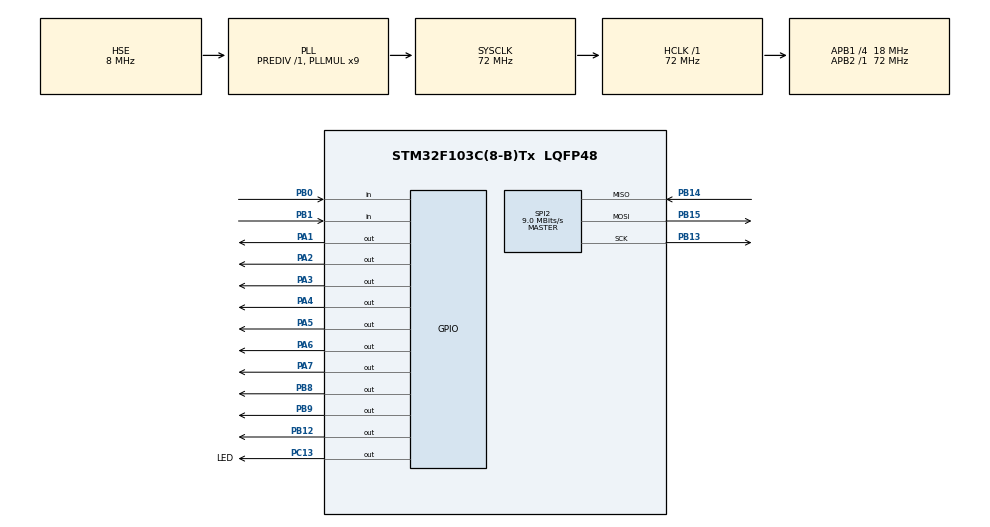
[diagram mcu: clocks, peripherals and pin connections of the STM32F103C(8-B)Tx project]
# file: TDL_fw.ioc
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FATFS._MAX_SS=4096
FATFS._USE_LFN=0
Mcu.Family=STM32F1
Mcu.Name=STM32F103C(8-B)Tx
Mcu.Package=LQFP48
NVIC.PriorityGroup=NVIC_PRIORITYGROUP_4
NVIC.TIM2_IRQn=true\:0\:0\:false\:false\:true\:true\:true\:true
PA1.Signal=GPIO_Output
PA13.Mode=Serial_Wire
PA13.Signal=SYS_JTMS-SWDIO
PA14.Mode=Serial_Wire
PA14.Signal=SYS_JTCK-SWCLK
PA2.Signal=GPIO_Output
PA3.Signal=GPIO_Output
PA4.Signal=GPIO_Output
PA5.Signal=GPIO_Output
PA6.Signal=GPIO_Output
PA7.Signal=GPIO_Output
PB0.GPIO_PuPd=GPIO_PULLDOWN
PB0.Signal=GPIO_Input
PB1.GPIO_PuPd=GPIO_PULLDOWN
PB1.Signal=GPIO_Input
PB12.Signal=GPIO_Output
PB13.Mode=Full_Duplex_Master
PB13.Signal=SPI2_SCK
PB14.Mode=Full_Duplex_Master
PB14.Signal=SPI2_MISO
PB15.Mode=Full_Duplex_Master
PB15.Signal=SPI2_MOSI
PB8.Signal=GPIO_Output
PB9.Signal=GPIO_Output
PC13-TAMPER-RTC.GPIO_Label=LED
PC13-TAMPER-RTC.Signal=GPIO_Output
PD0-OSC_IN.Mode=HSE-External-Oscillator
PD0-OSC_IN.Signal=RCC_OSC_IN
PD1-OSC_OUT.Mode=HSE-External-Oscillator
PD1-OSC_OUT.Signal=RCC_OSC_OUT
ProjectManager.HeapSize=0x200
ProjectManager.StackSize=0x400
ProjectManager.TargetToolchain=STM32CubeIDE
RCC.AHBFreq_Value=72000000
RCC.APB1CLKDivider=RCC_HCLK_DIV4
RCC.APB1Freq_Value=18000000
RCC.APB1TimFreq_Value=36000000
RCC.APB2Freq_Value=72000000
RCC.APB2TimFreq_Value=72000000
RCC.HCLKFreq_Value=72000000
RCC.PLLMUL=RCC_PLL_MUL9
RCC.PLLSourceVirtual=RCC_PLLSOURCE_HSE
RCC.SYSCLKFreq_VALUE=72000000
RCC.SYSCLKSource=RCC_SYSCLKSOURCE_PLLCLK
RCC.USBFreq_Value=72000000
SPI2.CalculateBaudRate=9.0 MBits/s
SPI2.Direction=SPI_DIRECTION_2LINES
SPI2.Mode=SPI_MODE_MASTER
SPI2.VirtualType=VM_MASTER
TIM2.Period=1000
TIM2.Prescaler=36000-1
TIM3.Prescaler=72-1
VP_FATFS_VS_Generic.Mode=User_defined
VP_TIM2_VS_ClockSourceINT.Mode=Internal
VP_TIM3_VS_ClockSourceINT.Mode=Internal
board=custom

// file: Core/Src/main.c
/* USER CODE BEGIN Header */
/**
  ******************************************************************************
  * @file           : main.c
  * @brief          : Main program body
  ******************************************************************************
  * @attention
  *
  * Copyright (c) 2024 STMicroelectronics.
  * All rights reserved.
  *
  * This software is licensed under terms that can be found in the LICENSE file
  * in the root directory of this software component.
  * If no LICENSE file comes with this software, it is provided AS-IS.
  *
  ******************************************************************************
  */
/* USER CODE END Header */
#include "main.h"
#include "fatfs.h"

/* USER CODE BEGIN Includes */

#include "lcd.h"
#include "math.h"
#include "ds18b20.h"

/* USER CODE END Includes */

/* USER CODE BEGIN PTD */
typedef struct
{
	int ID;
	char ROM_NO[8];
	char estado;
	float  temp;
}
tempSens_t;

/* USER CODE END PTD */

/* USER CODE BEGIN PD */
//#define LEER_ROM
#define N 4
FATFS fs;
FIL fil;

/* USER CODE END PD */

SPI_HandleTypeDef hspi2;

TIM_HandleTypeDef htim2;
TIM_HandleTypeDef htim3;

/* USER CODE BEGIN PV */
//TIM_HandleTypeDef htim1; // Se utiliza para temporización en us (one wire)
//TIM_HandleTypeDef htim3;
tempSens_t sensor[N];

FATFS fs;
FIL fil;
uint8_t count = 0;
uint8_t recording = 0;

/* USER CODE END PV */

void SystemClock_Config(void);
static void MX_GPIO_Init(void);
static void MX_TIM3_Init(void);
static void MX_SPI2_Init(void);
static void MX_TIM2_Init(void);

int main(void)
{

  /* MCU Configuration--------------------------------------------------------*/

  /* Reset of all peripherals, Initializes the Flash interface and the Systick. */
  HAL_Init();

  /* Configure the system clock */
  SystemClock_Config();

  /* USER CODE BEGIN SysInit */

  HAL_GPIO_TogglePin (GPIOA, GPIO_PIN_7);

  /* USER CODE END SysInit */

  /* Initialize all configured peripherals */
  MX_GPIO_Init();
  MX_TIM3_Init();
  MX_SPI2_Init();
  MX_FATFS_Init();
  MX_TIM2_Init();
  /* USER CODE BEGIN 2 */

  HAL_TIM_Base_Start(&htim3);
  HAL_TIM_Base_Start_IT(&htim2);
  HAL_Delay(1000);

  uint8_t Presence;
  uint8_t scratchPad[8];
  uint16_t buffer;
  uint16_t sample = 0;
  char message[25];
  int m;
  //uint8_t recording;
  //float temperature;

  Lcd_PortType ports[] = { GPIOA, GPIOA, GPIOA, GPIOA };
  Lcd_PinType pins[] = {GPIO_PIN_2, GPIO_PIN_3, GPIO_PIN_4, GPIO_PIN_5};
  Lcd_HandleTypeDef lcd;
  lcd = Lcd_create(ports, pins, GPIOA, GPIO_PIN_6, GPIOA, GPIO_PIN_1, LCD_4_BIT_MODE);

#ifdef LEER_ROM
  Presence = DS18B20_Start ();
  Lcd_cursor(&lcd, 0,0);
  DS18B20_Write (0x33);  // read ROM
  for(int i = 0; i<4; i++)
  {
	  scratchPad[i] = DS18B20_Read();
	  Lcd_int_hex(&lcd, scratchPad[i]);
	  Lcd_string(&lcd, " ");
  }
  Lcd_cursor(&lcd, 1,0);
  for(int i = 4; i<8; i++)
    {
  	  scratchPad[i] = DS18B20_Read();
  	  Lcd_int_hex(&lcd, scratchPad[i]);
  	  Lcd_string(&lcd, " ");
    }
  Presence = Presence; // ToDo: chequeo de errores
  HAL_Delay(10000);
#endif
  // Sensor 1:
  uint8_t aux[N][8]= {{0x28, 0xEB, 0x42, 0x76, 0xE0, 0x01, 0x3C, 0x1A},
		  	  	  	 {0x28, 0x2F, 0x9B, 0x76, 0xE0, 0x01, 0x3C, 0xF4},
					 {0x28, 0x2C, 0x4D, 0x43, 0xD4, 0xE1, 0x3C, 0x93},
					 {0x28, 0xBF, 0x88, 0x43, 0xD4, 0xE1, 0x3C, 0x8B}};
  for(int j=0; j<N;j++)
	  for(int i=0; i<8; i++)
	  {
		  sensor[j].ROM_NO[i]= aux[j][i];
	  }

	f_mount(&fs, "", 0);
	f_open(&fil, "temp.log", FA_OPEN_ALWAYS | FA_WRITE | FA_READ);
	f_lseek(&fil, fil.fsize);
	f_puts("sample, T1, T2, T3, T4\n", &fil);
	f_close(&fil);

  /* USER CODE END 2 */

  /* Infinite loop */
  while (1)
  {

    /* USER CODE BEGIN 3 */

	  // Iniciar conversión
	  Presence = DS18B20_Start ();
	  HAL_Delay (1);
	  DS18B20_Write (0xCC);  // skip ROM
	  DS18B20_Write (0x44);  // convert t
	  HAL_Delay (800);
	  Presence = Presence; // ToDo: chequeo de errores
//	  // Lectura de temperatura (un solo sensor en bus)
//	  Presence = DS18B20_Start ();
//	  HAL_Delay(1);
//	  DS18B20_Write (0xCC);  // skip ROM
//	  DS18B20_Write (0xBE);  // Read Scratch-pad
//	  for(int i = 0; i<8; i++)
//		  scratchPad[i] = DS18B20_Read();

///////////////////////////////////////////////////////////
	  for(int j=0; j<N; j++)
	  {
		  Presence = DS18B20_Start ();
		  HAL_Delay(1);
		  DS18B20_Write (0x55);  // match ROM
		  for(int i=0;i<8;i++)
		  {
			  DS18B20_Write (sensor[j].ROM_NO[i]);
		  }
		  DS18B20_Write (0xBE);  // Read Scratch-pad
		  for(int i = 0; i<8; i++)
			  scratchPad[i] = DS18B20_Read();
		  buffer = scratchPad[1];
		  buffer = (buffer << 8) + scratchPad[0];
		  sensor[j].temp = DS18B20_Temp2Float(buffer);
	  }

	  Lcd_clear;
	  Lcd_cursor(&lcd, 0,0);
	  Lcd_string(&lcd, "T1=");
	  Lcd_float_lim(&lcd, sensor[0].temp, 1);
	  Lcd_cursor(&lcd, 0,8);
	  Lcd_string(&lcd, "T2=");
	  Lcd_float_lim(&lcd, sensor[1].temp, 1);
	  Lcd_cursor(&lcd, 1,0);
	  Lcd_string(&lcd, "T3=");
	  Lcd_float_lim(&lcd, sensor[2].temp, 1);
	  Lcd_cursor(&lcd, 1,8);
	  Lcd_string(&lcd, "T4=");
	  Lcd_float_lim(&lcd, sensor[3].temp, 1);
	  //lcd_write_data(&lcd, 210); // imprime "°"
	  //Lcd_string(&lcd, "C");

//	   f_mount(&fs, "", 0);
//	   f_open(&fil, "write.txt", FA_OPEN_ALWAYS | FA_WRITE | FA_READ);
//	   f_lseek(&fil, fil.fsize);
//	   f_puts("Hello from CENADIF\n", &fil);
//	   f_close(&fil);

	if((count % 10) == 0 && recording == 1) // cada 10 segundos
	{
		f_mount(&fs, "", 0);
		f_open(&fil, "temp.log", FA_OPEN_ALWAYS | FA_WRITE | FA_READ);
		f_lseek(&fil, fil.fsize);
		m = sprintf(message, "%d, ", sample);
		m += sprintf(message+m, "%.2f, ",sensor[0].temp );
		m += sprintf(message+m, "%.2f, ",sensor[1].temp );
		m += sprintf(message+m, "%.2f, ",sensor[2].temp );
		m += sprintf(message+m, "%.2f\n",sensor[3].temp );
		f_puts(message, &fil);
		f_close(&fil);
		count = 0;
		sample ++;
		//HAL_GPIO_TogglePin (GPIOC, LED_Pin);
	}
  }
  /* USER CODE END 3 */
}

void SystemClock_Config(void)
{
  RCC_OscInitTypeDef RCC_OscInitStruct = {0};
  RCC_ClkInitTypeDef RCC_ClkInitStruct = {0};

  /** Initializes the RCC Oscillators according to the specified parameters
  * in the RCC_OscInitTypeDef structure.
  */
  RCC_OscInitStruct.OscillatorType = RCC_OSCILLATORTYPE_HSE;
  RCC_OscInitStruct.HSEState = RCC_HSE_ON;
  RCC_OscInitStruct.HSEPredivValue = RCC_HSE_PREDIV_DIV1;
  RCC_OscInitStruct.HSIState = RCC_HSI_ON;
  RCC_OscInitStruct.PLL.PLLState = RCC_PLL_ON;
  RCC_OscInitStruct.PLL.PLLSource = RCC_PLLSOURCE_HSE;
  RCC_OscInitStruct.PLL.PLLMUL = RCC_PLL_MUL9;
  if (HAL_RCC_OscConfig(&RCC_OscInitStruct) != HAL_OK)
  {
    Error_Handler();
  }

  /** Initializes the CPU, AHB and APB buses clocks
  */
  RCC_ClkInitStruct.ClockType = RCC_CLOCKTYPE_HCLK|RCC_CLOCKTYPE_SYSCLK
                              |RCC_CLOCKTYPE_PCLK1|RCC_CLOCKTYPE_PCLK2;
  RCC_ClkInitStruct.SYSCLKSource = RCC_SYSCLKSOURCE_PLLCLK;
  RCC_ClkInitStruct.AHBCLKDivider = RCC_SYSCLK_DIV1;
  RCC_ClkInitStruct.APB1CLKDivider = RCC_HCLK_DIV4;
  RCC_ClkInitStruct.APB2CLKDivider = RCC_HCLK_DIV1;

  if (HAL_RCC_ClockConfig(&RCC_ClkInitStruct, FLASH_LATENCY_2) != HAL_OK)
  {
    Error_Handler();
  }
}

static void MX_SPI2_Init(void)
{

  /* SPI2 parameter configuration*/
  hspi2.Instance = SPI2;
  hspi2.Init.Mode = SPI_MODE_MASTER;
  hspi2.Init.Direction = SPI_DIRECTION_2LINES;
  hspi2.Init.DataSize = SPI_DATASIZE_8BIT;
  hspi2.Init.CLKPolarity = SPI_POLARITY_LOW;
  hspi2.Init.CLKPhase = SPI_PHASE_1EDGE;
  hspi2.Init.NSS = SPI_NSS_SOFT;
  hspi2.Init.BaudRatePrescaler = SPI_BAUDRATEPRESCALER_2;
  hspi2.Init.FirstBit = SPI_FIRSTBIT_MSB;
  hspi2.Init.TIMode = SPI_TIMODE_DISABLE;
  hspi2.Init.CRCCalculation = SPI_CRCCALCULATION_DISABLE;
  hspi2.Init.CRCPolynomial = 10;
  if (HAL_SPI_Init(&hspi2) != HAL_OK)
  {
    Error_Handler();
  }

}

static void MX_TIM2_Init(void)
{

  TIM_ClockConfigTypeDef sClockSourceConfig = {0};
  TIM_MasterConfigTypeDef sMasterConfig = {0};

  htim2.Instance = TIM2;
  htim2.Init.Prescaler = 36000-1;
  htim2.Init.CounterMode = TIM_COUNTERMODE_UP;
  htim2.Init.Period = 1000;
  htim2.Init.ClockDivision = TIM_CLOCKDIVISION_DIV1;
  htim2.Init.AutoReloadPreload = TIM_AUTORELOAD_PRELOAD_DISABLE;
  if (HAL_TIM_Base_Init(&htim2) != HAL_OK)
  {
    Error_Handler();
  }
  sClockSourceConfig.ClockSource = TIM_CLOCKSOURCE_INTERNAL;
  if (HAL_TIM_ConfigClockSource(&htim2, &sClockSourceConfig) != HAL_OK)
  {
    Error_Handler();
  }
  sMasterConfig.MasterOutputTrigger = TIM_TRGO_RESET;
  sMasterConfig.MasterSlaveMode = TIM_MASTERSLAVEMODE_DISABLE;
  if (HAL_TIMEx_MasterConfigSynchronization(&htim2, &sMasterConfig) != HAL_OK)
  {
    Error_Handler();
  }

}

static void MX_TIM3_Init(void)
{

  TIM_ClockConfigTypeDef sClockSourceConfig = {0};
  TIM_MasterConfigTypeDef sMasterConfig = {0};

  htim3.Instance = TIM3;
  htim3.Init.Prescaler = 72-1;
  htim3.Init.CounterMode = TIM_COUNTERMODE_UP;
  htim3.Init.Period = 65535;
  htim3.Init.ClockDivision = TIM_CLOCKDIVISION_DIV1;
  htim3.Init.AutoReloadPreload = TIM_AUTORELOAD_PRELOAD_DISABLE;
  if (HAL_TIM_Base_Init(&htim3) != HAL_OK)
  {
    Error_Handler();
  }
  sClockSourceConfig.ClockSource = TIM_CLOCKSOURCE_INTERNAL;
  if (HAL_TIM_ConfigClockSource(&htim3, &sClockSourceConfig) != HAL_OK)
  {
    Error_Handler();
  }
  sMasterConfig.MasterOutputTrigger = TIM_TRGO_RESET;
  sMasterConfig.MasterSlaveMode = TIM_MASTERSLAVEMODE_DISABLE;
  if (HAL_TIMEx_MasterConfigSynchronization(&htim3, &sMasterConfig) != HAL_OK)
  {
    Error_Handler();
  }

}

static void MX_GPIO_Init(void)
{
  GPIO_InitTypeDef GPIO_InitStruct = {0};

  /* GPIO Ports Clock Enable */
  __HAL_RCC_GPIOC_CLK_ENABLE();
  __HAL_RCC_GPIOD_CLK_ENABLE();
  __HAL_RCC_GPIOA_CLK_ENABLE();
  __HAL_RCC_GPIOB_CLK_ENABLE();

  /*Configure GPIO pin Output Level */
  HAL_GPIO_WritePin(LED_GPIO_Port, LED_Pin, GPIO_PIN_RESET);

  /*Configure GPIO pin Output Level */
  HAL_GPIO_WritePin(GPIOA, GPIO_PIN_1|GPIO_PIN_2|GPIO_PIN_3|GPIO_PIN_4
                          |GPIO_PIN_5|GPIO_PIN_6|GPIO_PIN_7, GPIO_PIN_RESET);

  /*Configure GPIO pin Output Level */
  HAL_GPIO_WritePin(GPIOB, GPIO_PIN_12|GPIO_PIN_8|GPIO_PIN_9, GPIO_PIN_RESET);

  /*Configure GPIO pin : LED_Pin */
  GPIO_InitStruct.Pin = LED_Pin;
  GPIO_InitStruct.Mode = GPIO_MODE_OUTPUT_PP;
  GPIO_InitStruct.Pull = GPIO_NOPULL;
  GPIO_InitStruct.Speed = GPIO_SPEED_FREQ_LOW;
  HAL_GPIO_Init(LED_GPIO_Port, &GPIO_InitStruct);

  /*Configure GPIO pins : PA1 PA2 PA3 PA4
                           PA5 PA6 PA7 */
  GPIO_InitStruct.Pin = GPIO_PIN_1|GPIO_PIN_2|GPIO_PIN_3|GPIO_PIN_4
                          |GPIO_PIN_5|GPIO_PIN_6|GPIO_PIN_7;
  GPIO_InitStruct.Mode = GPIO_MODE_OUTPUT_PP;
  GPIO_InitStruct.Pull = GPIO_NOPULL;
  GPIO_InitStruct.Speed = GPIO_SPEED_FREQ_LOW;
  HAL_GPIO_Init(GPIOA, &GPIO_InitStruct);

  /*Configure GPIO pins : PB0 PB1 */
  GPIO_InitStruct.Pin = GPIO_PIN_0|GPIO_PIN_1;
  GPIO_InitStruct.Mode = GPIO_MODE_INPUT;
  GPIO_InitStruct.Pull = GPIO_PULLDOWN;
  HAL_GPIO_Init(GPIOB, &GPIO_InitStruct);

  /*Configure GPIO pins : PB12 PB8 PB9 */
  GPIO_InitStruct.Pin = GPIO_PIN_12|GPIO_PIN_8|GPIO_PIN_9;
  GPIO_InitStruct.Mode = GPIO_MODE_OUTPUT_PP;
  GPIO_InitStruct.Pull = GPIO_NOPULL;
  GPIO_InitStruct.Speed = GPIO_SPEED_FREQ_LOW;
  HAL_GPIO_Init(GPIOB, &GPIO_InitStruct);

}

/* USER CODE BEGIN 4 */
void HAL_TIM_PeriodElapsedCallback(TIM_HandleTypeDef *htim)
{
  if(htim->Instance == TIM2)
  {
	  if (HAL_GPIO_ReadPin(GPIOB, GPIO_PIN_1) == 1)
		  recording = 1;
	  if (recording == 1)
	  {
		  count ++;
		  //HAL_GPIO_TogglePin (GPIOC, LED_Pin);
		  HAL_GPIO_TogglePin (GPIOA, GPIO_PIN_7);
	  }
  }
}
/* USER CODE END 4 */

void Error_Handler(void)
{
  __disable_irq();
  while (1)
  {
  }
}
